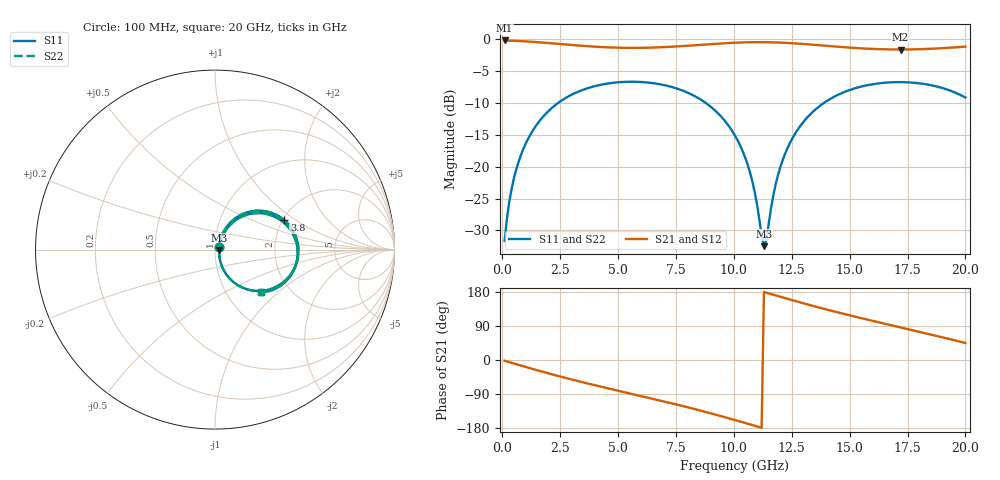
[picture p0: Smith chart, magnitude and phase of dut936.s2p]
! Touchstone file exported from HFSS 2026.1.0
!  File:  C:/ffzhzh/LocalFiles/Ansys_Project_Files/temp_train_TSV_RDL_936_1783281044_30076.aedt
!  Generated:  04:06:48 AM Jul  6, 2026
!  Design:  TSV_RDL
!  Project:  temp_train_TSV_RDL_936_1783281044_30076
! Variables:
!  h_bsmrdl = 4.09um
!  h_ox = 20um
!  h_rdl = 5um
!  h_sub = 94.66um
!  h_tmrdl = 4.05um
!  h_tsv = 94.66um
!  h_via = 3um
!  l_bsmrdl = 694.39um
!  l_sub = 5226.26um
!  l_tmrdl = 652.39um
!  m_sub = 200um
!  pitch = 46.73um
!  r_tsv = 11.09um
!  s_tmrdl = 10um
!  w_bsmrdl = 17.27um
!  w_sub = 500um
!  w_tmrdl = 27.24um
!  x_tsv_center1 = 666.01um
!  x_tsv_center2 = 1377.67um
!  x_tsv_center3 = 2057.3um
!  x_tsv_center4 = 2768.96um
!  x_tsv_center5 = 3448.59um
!  x_tsv_center6 = 4160.25um
# GHz S MA R 50.000000
! Terminal data exported
! Port[1] = TM_RDL1_1_T1
! Port[2] = TM_RDL5_1_T1
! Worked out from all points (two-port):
!   200 points, 100 MHz to 20 GHz, reference 50 ohm
!   highest |S21| = -0.18 dB at 100 MHz (marker M1); lowest = -1.6 dB at 17.2 GHz (marker M2)
!   |S21| within 3 dB of the highest: start of sweep to end of sweep
!   lowest |S11| = -32.5 dB at 11.3 GHz (marker M3), VSWR 1.05, Z = 52.4 - j0.371 ohm
!   |S11| at or under -10 dB: start of sweep to 2.407 GHz; 8.792 GHz to 13.88 GHz (5.092 GHz wide, 44.9 % of centre)
!   |S22| runs from -32.5 to -6.7 dB; largest |S21 - S12| = 1.6e-14
!   S11 on the Smith chart (normalised r, x): 100 MHz: 1.04, +0.03; 3.8 GHz: 2.04, +0.81; 20 GHz: 1.44, -0.78
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0.1  0.02614 37.9  0.9798 -1.9  0.9798 -1.9  0.02614 37.9
! Gamma 0 0 0 0
! Port Impedance 50 0 50 0
0.3  0.05273 59.5  0.9767 -5.6  0.9767 -5.6  0.05273 59.5
0.5  0.08074 63.8  0.9736 -9.2  0.9736 -9.2  0.08074 63.8
1.1  0.1637 61.2  0.9615 -19.9  0.9615 -19.9  0.1637 61.2
2.1  0.285 47.7  0.9322 -37.1  0.9322 -37.1  0.285 47.7
3.5  0.4026 27.2  0.8879 -59.2  0.8879 -59.2  0.4026 27.2
3.8  0.4196 23.0  0.8801 -63.7  0.8801 -63.7  0.4196 23.0
5.3  0.4638 2.3  0.8576 -85.3  0.8576 -85.3  0.4638 2.3
6.8  0.4442 -18.2  0.8655 -106.7  0.8655 -106.7  0.4442 -18.2
8.8  0.3155 -46.6  0.9116 -137.4  0.9116 -137.4  0.3155 -46.6
10.1  0.1689 -64.1  0.9417 -159.3  0.9417 -159.3  0.1689 -64.2
10.8  0.07652 -66.1  0.9495 -171.7  0.9495 -171.7  0.07649 -66.2
11.3  0.02379 -8.6  0.9499 179.4  0.9499 179.4  0.02371 -8.5
11.4  0.02643 21.9  0.9494 177.6  0.9494 177.6  0.02637 22.0
11.8  0.07187 59.3  0.9456 170.5  0.9456 170.5  0.07186 59.4
12.1  0.1115 61.2  0.9409 165.2  0.9409 165.2  0.1115 61.2
12.7  0.1884 56.1  0.9277 154.8  0.9277 154.8  0.1884 56.1
13.4  0.2685 46.9  0.9078 143.0  0.9078 143.0  0.2686 46.9
14.9  0.394 25.8  0.8634 119.4  0.8634 119.4  0.394 25.8
16.7  0.459 1.4  0.8333 93.3  0.8333 93.3  0.459 1.4
17.2  0.4616 -5.2  0.8319 86.2  0.8319 86.2  0.4616 -5.2
20  0.3493 -43.1  0.876 44.7  0.876 44.7  0.3493 -43.1
